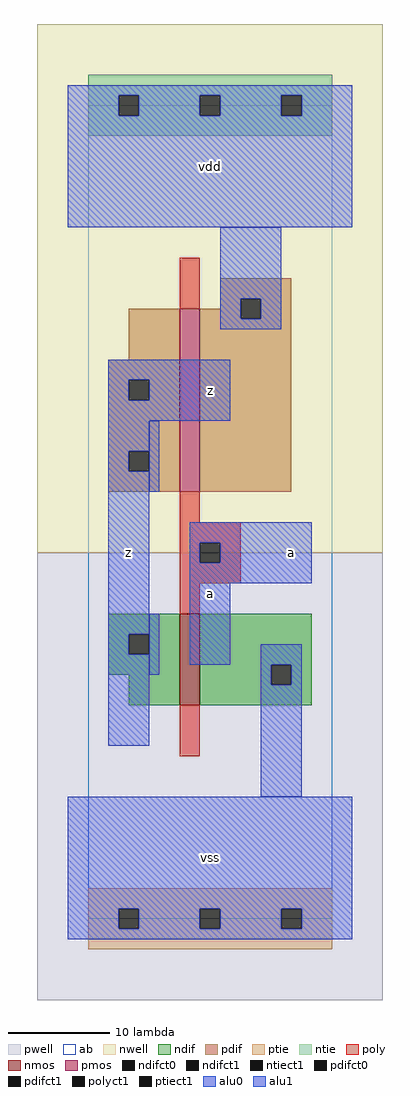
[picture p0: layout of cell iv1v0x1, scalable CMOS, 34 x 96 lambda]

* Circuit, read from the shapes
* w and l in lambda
.subckt iv1v0x1 a vdd vss z
M1 vss a z vss nfet w=9 l=2
M2 vdd a z vdd pfet w=18 l=2
.ends

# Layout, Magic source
magic
tech scmos
<< ab >>
rect 0 0 24 80
<< nwell >>
rect -5 36 29 88
<< pwell >>
rect -5 -8 29 36
<< poly >>
rect 9 60 11 65
rect 9 39 11 42
rect 9 37 15 39
rect 9 35 11 37
rect 13 35 15 37
rect 9 33 15 35
rect 9 30 11 33
rect 9 16 11 21
<< ndif >>
rect 2 28 9 30
rect 2 26 4 28
rect 6 26 9 28
rect 2 24 9 26
rect 4 21 9 24
rect 11 25 22 30
rect 11 23 18 25
rect 20 23 22 25
rect 11 21 22 23
<< pdif >>
rect 13 61 20 63
rect 13 60 15 61
rect 4 55 9 60
rect 2 53 9 55
rect 2 51 4 53
rect 6 51 9 53
rect 2 46 9 51
rect 2 44 4 46
rect 6 44 9 46
rect 2 42 9 44
rect 11 59 15 60
rect 17 59 20 61
rect 11 42 20 59
<< alu1 >>
rect -2 81 26 82
rect -2 79 3 81
rect 5 79 11 81
rect 13 79 19 81
rect 21 79 26 81
rect -2 68 26 79
rect 2 53 14 55
rect 2 51 4 53
rect 6 51 14 53
rect 2 49 14 51
rect 2 46 6 49
rect 2 44 4 46
rect 2 28 6 44
rect 10 37 22 39
rect 10 35 11 37
rect 13 35 22 37
rect 10 33 22 35
rect 2 26 4 28
rect 2 17 6 26
rect 10 25 14 33
rect -2 1 26 12
rect -2 -1 3 1
rect 5 -1 11 1
rect 13 -1 19 1
rect 21 -1 26 1
rect -2 -2 26 -1
<< ptie >>
rect 0 1 24 3
rect 0 -1 3 1
rect 5 -1 11 1
rect 13 -1 19 1
rect 21 -1 24 1
rect 0 -3 24 -1
<< ntie >>
rect 0 81 24 83
rect 0 79 3 81
rect 5 79 11 81
rect 13 79 19 81
rect 21 79 24 81
rect 0 77 24 79
<< nmos >>
rect 9 21 11 30
<< pmos >>
rect 9 42 11 60
<< polyct1 >>
rect 11 35 13 37
<< ndifct0 >>
rect 18 23 20 25
<< ndifct1 >>
rect 4 26 6 28
<< ntiect1 >>
rect 3 79 5 81
rect 11 79 13 81
rect 19 79 21 81
<< ptiect1 >>
rect 3 -1 5 1
rect 11 -1 13 1
rect 19 -1 21 1
<< pdifct0 >>
rect 15 59 17 61
<< pdifct1 >>
rect 4 51 6 53
rect 4 44 6 46
<< alu0 >>
rect 13 61 19 68
rect 13 59 15 61
rect 17 59 19 61
rect 13 58 19 59
rect 6 42 7 49
rect 6 24 7 30
rect 17 25 21 27
rect 17 23 18 25
rect 20 23 21 25
rect 17 12 21 23
<< labels >>
rlabel alu1 4 36 4 36 6 z
rlabel alu1 12 6 12 6 6 vss
rlabel alu1 12 32 12 32 6 a
rlabel alu1 12 52 12 52 6 z
rlabel alu1 12 74 12 74 6 vdd
rlabel alu1 20 36 20 36 6 a
<< end >>
